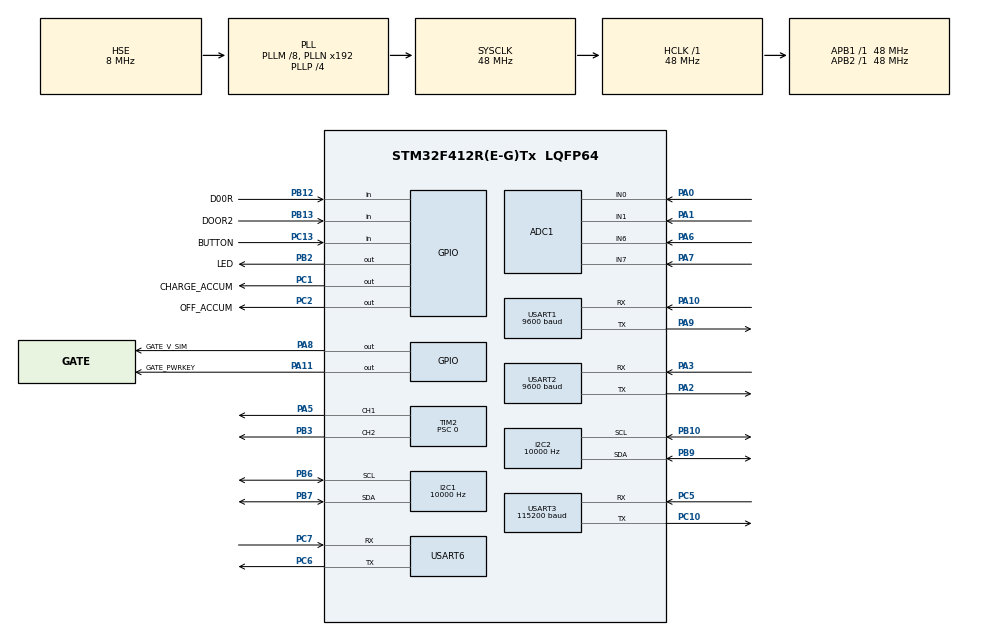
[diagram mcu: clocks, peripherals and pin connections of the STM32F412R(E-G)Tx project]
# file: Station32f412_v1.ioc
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ADC1.Channel-0\#ChannelRegularConversion=ADC_CHANNEL_0
ADC1.Channel-2\#ChannelRegularConversion=ADC_CHANNEL_1
ADC1.Channel-3\#ChannelRegularConversion=ADC_CHANNEL_6
ADC1.Channel-4\#ChannelRegularConversion=ADC_CHANNEL_7
ADC1.ClockPrescaler=ADC_CLOCK_SYNC_PCLK_DIV4
ADC1.DiscontinuousConvMode=ENABLE
ADC1.NbrOfConversion=4
ADC1.NbrOfConversionFlag=1
ADC1.Rank-0\#ChannelRegularConversion=1
ADC1.Rank-2\#ChannelRegularConversion=2
ADC1.Rank-3\#ChannelRegularConversion=3
ADC1.Rank-4\#ChannelRegularConversion=4
ADC1.SamplingTime-0\#ChannelRegularConversion=ADC_SAMPLETIME_15CYCLES
ADC1.SamplingTime-2\#ChannelRegularConversion=ADC_SAMPLETIME_15CYCLES
ADC1.SamplingTime-3\#ChannelRegularConversion=ADC_SAMPLETIME_15CYCLES
ADC1.SamplingTime-4\#ChannelRegularConversion=ADC_SAMPLETIME_15CYCLES
ADC1.ScanConvMode=ENABLE
ADC1.master=1
I2C1.ClockSpeed=10000
I2C2.ClockSpeed=10000
Mcu.Family=STM32F4
Mcu.Name=STM32F412R(E-G)Tx
Mcu.Package=LQFP64
NVIC.PriorityGroup=NVIC_PRIORITYGROUP_4
NVIC.USART1_IRQn=true\:0\:0\:false\:false\:true\:true\:true\:true
NVIC.USART2_IRQn=true\:0\:0\:false\:false\:true\:true\:true\:true
NVIC.USART3_IRQn=true\:0\:0\:false\:false\:true\:true\:true\:true
NVIC.USART6_IRQn=true\:0\:0\:false\:false\:true\:true\:true\:true
PA0.Signal=ADCx_IN0
PA1.Signal=ADCx_IN1
PA10.Mode=Asynchronous
PA10.Signal=USART1_RX
PA11.GPIO_Label=GATE_PWRKEY
PA11.GPIO_Speed=GPIO_SPEED_FREQ_HIGH
PA11.Signal=GPIO_Output
PA13.Mode=Serial_Wire
PA13.Signal=SYS_JTMS-SWDIO
PA14.Mode=Serial_Wire
PA14.Signal=SYS_JTCK-SWCLK
PA2.Mode=Asynchronous
PA2.Signal=USART2_TX
PA3.Mode=Asynchronous
PA3.Signal=USART2_RX
PA5.Signal=S_TIM2_CH1_ETR
PA6.Signal=ADCx_IN6
PA7.Signal=ADCx_IN7
PA8.GPIO_Label=GATE_V_SIM
PA8.Signal=GPIO_Output
PA9.Mode=Asynchronous
PA9.Signal=USART1_TX
PB10.Mode=I2C
PB10.Signal=I2C2_SCL
PB12.GPIO_Label=D00R
PB12.Signal=GPIO_Input
PB13.GPIO_Label=DOOR2
PB13.Signal=GPIO_Input
PB2.GPIO_Label=LED
PB2.Signal=GPIO_Output
PB3.Signal=S_TIM2_CH2
PB6.Mode=I2C
PB6.Signal=I2C1_SCL
PB7.Mode=I2C
PB7.Signal=I2C1_SDA
PB9.Mode=I2C
PB9.Signal=I2C2_SDA
PC1.GPIO_Label=CHARGE_ACCUM
PC1.Signal=GPIO_Output
PC10.Mode=Asynchronous
PC10.Signal=USART3_TX
PC13.GPIO_Label=BUTTON
PC13.GPIO_PuPd=GPIO_PULLDOWN
PC13.Signal=GPIO_Input
PC2.GPIO_Label=OFF_ACCUM
PC2.Signal=GPIO_Output
PC5.Mode=Asynchronous
PC5.Signal=USART3_RX
PC6.Mode=Asynchronous
PC6.Signal=USART6_TX
PC7.Mode=Asynchronous
PC7.Signal=USART6_RX
PH0\ -\ OSC_IN.Mode=HSE-External-Oscillator
PH0\ -\ OSC_IN.Signal=RCC_OSC_IN
PH1\ -\ OSC_OUT.Mode=HSE-External-Oscillator
PH1\ -\ OSC_OUT.Signal=RCC_OSC_OUT
ProjectManager.HeapSize=0x200
ProjectManager.StackSize=0x400
ProjectManager.TargetToolchain=STM32CubeIDE
RCC.AHBFreq_Value=48000000
RCC.APB1Freq_Value=48000000
RCC.APB1TimFreq_Value=48000000
RCC.APB2Freq_Value=48000000
RCC.APB2TimFreq_Value=48000000
RCC.CortexFreq_Value=48000000
RCC.HCLKFreq_Value=48000000
RCC.HSE_VALUE=8000000
RCC.PLLM=8
RCC.PLLP=RCC_PLLP_DIV4
RCC.PLLSourceVirtual=RCC_PLLSOURCE_HSE
RCC.SYSCLKFreq_VALUE=48000000
RCC.SYSCLKSource=RCC_SYSCLKSOURCE_PLLCLK
RCC.USBFreq_Value=96000000
RCC.VCOOutputFreq_Value=192000000
SH.ADCx_IN0.0=ADC1_IN0,IN0
SH.ADCx_IN1.0=ADC1_IN1,IN1
SH.ADCx_IN6.0=ADC1_IN6,IN6
SH.ADCx_IN7.0=ADC1_IN7,IN7
SH.S_TIM2_CH1_ETR.0=TIM2_CH1,PWM Generation1 CH1
SH.S_TIM2_CH2.0=TIM2_CH2,PWM Generation2 CH2
TIM2.Channel-PWM\ Generation1\ CH1=TIM_CHANNEL_1
TIM2.Channel-PWM\ Generation2\ CH2=TIM_CHANNEL_2
TIM2.Period=1000
TIM2.Prescaler=0
TIM2.Pulse-PWM\ Generation1\ CH1=0
USART1.BaudRate=9600
USART1.VirtualMode=VM_ASYNC
USART2.BaudRate=9600
USART2.VirtualMode=VM_ASYNC
USART3.BaudRate=115200
USART3.VirtualMode=VM_ASYNC
USART6.VirtualMode=VM_ASYNC
VP_CRC_VS_CRC.Mode=CRC_Activate
board=custom

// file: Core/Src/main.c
/* USER CODE BEGIN Header */
/**
  ******************************************************************************
  * @file           : main.c
  * @brief          : Main program body
  ******************************************************************************
  * @attention
  *
  * Copyright (c) 2025 STMicroelectronics.
  * All rights reserved.
  *
  * This software is licensed under terms that can be found in the LICENSE file
  * in the root directory of this software component.
  * If no LICENSE file comes with this software, it is provided AS-IS.
  *
  ******************************************************************************
  */
/* USER CODE END Header */
#include "main.h"

/* USER CODE BEGIN Includes */

#include "stdio.h"
//#include "DS1307.h"
#include "Lcd_1602.h"
#include "Ina_228.h"
#include "FlashPROM.h"
#include "Dwin_lcd.h"
#include "my_atc.h"
#include "station.h"

/* USER CODE END Includes */

ADC_HandleTypeDef hadc1;

CRC_HandleTypeDef hcrc;

I2C_HandleTypeDef hi2c1;
I2C_HandleTypeDef hi2c2;

TIM_HandleTypeDef htim2;

/* USER CODE BEGIN PV */

char mas_char[21];
uint16_t adc_potenciometr = 0;
float adc_potect_v = 0;

// variable for function Dwin lcd
// witch called in interrupt
uint16_t pwm_value = 0;
uint16_t on_off_accum_value = 0;

uint16_t u_accum = 0;
float u_accum_float = 0;
_Bool u_220_off = 0;
uint16_t u_12v = 0;

int csq_value = 0;

// energy
float energy_fl = 0;

//hours work
uint32_t hours_work = 0;

_Bool flagDwinProgram = 0;

_Bool flagLcd1602_Enable = 0;

_Bool forse_write_eeprom = 0;

_Bool event_happened = 0;

// time delay
uint32_t time_1 = 0;
uint32_t time_2 = 0;
uint32_t time_3 = 0;
uint32_t time_4 = 0;

//---------------------------
// Sim800 variable
struct telemetriaData telData;
char telString[130] = {0,};
char tempString[15] = {0,};
uint8_t sim_status = 0;
uint8_t flag_sim800_error = 0;
//
char simReadBuff[50] = {0,};
uint8_t countSimReadBuff = 0;
//interrupt sim
volatile uint8_t receiveUart1Byte = 0;
volatile uint8_t flag_is_receive = 0;
uint16_t sim800_on_off = 0;

// I2C n2
HAL_StatusTypeDef status_i2c_2;

//flash PROM
uint32_t res_addr = 0;

/* USER CODE END PV */

void SystemClock_Config(void);
static void MX_GPIO_Init(void);
static void MX_I2C1_Init(void);
static void MX_ADC1_Init(void);
static void MX_TIM2_Init(void);
static void MX_I2C2_Init(void);
static void MX_CRC_Init(void);
static void MX_USART1_UART_Init(void);
static void MX_USART2_UART_Init(void);
static void MX_USART3_UART_Init(void);
static void MX_USART6_UART_Init(void);

/* USER CODE BEGIN 0 */

uint8_t reset_sim800_connect_to_server(void);
void read_sensor_write_lcd(void);

/* USER CODE END 0 */

int main(void)
{

  /* MCU Configuration--------------------------------------------------------*/

  /* Reset of all peripherals, Initializes the Flash interface and the Systick. */
  HAL_Init();

  /* Configure the system clock */
  SystemClock_Config();

  /* Initialize all configured peripherals */
  MX_GPIO_Init();
  MX_I2C1_Init();
  MX_ADC1_Init();
  MX_TIM2_Init();
  MX_I2C2_Init();
  MX_CRC_Init();
  MX_USART1_UART_Init();
  MX_USART2_UART_Init();
  MX_USART3_UART_Init();
  MX_USART6_UART_Init();
  /* USER CODE BEGIN 2 */

  if(flagLcd1602_Enable){
	  Init_lcd_1602(&hi2c1);
	  lcd_led_on();
  }

  HAL_TIM_PWM_Start_IT(&htim2, TIM_CHANNEL_1);
  HAL_TIM_PWM_Start_IT(&htim2, TIM_CHANNEL_2);

  /* USER CODE END 2 */

  /* Infinite loop */
  /* USER CODE BEGIN WHILE */

	HAL_Delay(1500);

	config = 0xFB6A; //config reg address = 1h
	status_i2c_2 = WriteIna228(&hi2c2, 1);
	if( status_i2c_2 != HAL_OK){
	  sprintf(mas_char,"Ina228-conf-error");
	  Dwin_write_str(USART6, 0x5100, (uint8_t *)mas_char, 20, flagDwinProgram);
	  //write status ina228 to lcd
	  if(flagLcd1602_Enable){
		  sprintf(mas_char,"i2-er");
		  Lcd_1602_SetPos(&hi2c1, 0, 0);
		  Lcd_1602_Write_Data(&hi2c1, (uint8_t *)mas_char);
	  }
	}else{
	  sprintf(mas_char,"Ina228-conf-OK");
	  Dwin_write_str(USART6, 0x5100, (uint8_t *)mas_char, 20, flagDwinProgram);
	}
	//
	//config = 500; // current calc reg address = 2h; Rsh=0,002 om
	config = 200; // current calc reg address = 2h; Rsh=0,00045 om 563
	status_i2c_2 = WriteIna228(&hi2c2, 2);
	if( status_i2c_2 != HAL_OK){
	  sprintf(mas_char,"Ina228-conf-error");
	  Dwin_write_str(USART6, 0x5100, (uint8_t *)mas_char, 20, flagDwinProgram);
	  //write status ina228 to lcd
	  if(flagLcd1602_Enable){
		  sprintf(mas_char,"i2-er");
		  Lcd_1602_SetPos(&hi2c1, 0, 0);
		  Lcd_1602_Write_Data(&hi2c1, (uint8_t *)mas_char);
	  }
	}else{
	  sprintf(mas_char,"Ina228-conf-OK");
	  Dwin_write_str(USART6, 0x5100, (uint8_t *)mas_char, 20, flagDwinProgram);
	}
	//
	config = 0;

	// work with flash
	//erase_flash();
	res_addr = flash_search_adress(STARTADDR, BUFFSIZE * DATAWIDTH);
	if( res_addr != STARTADDR){
	  myBuf_t rdata[BUFFSIZE] = {0,}; // буфер для чтения
	  read_last_data_in_flash(rdata); // чтение данных из флеша
	  energy_fl =  *((float*)&rdata[0]);
	  hours_work = rdata[1];
	  pwm_value = (uint16_t)rdata[2];
	  on_off_accum_value = ( (uint16_t)(rdata[2] >> 16) & 0x01 );
	  sim800_on_off = ( (uint16_t)(rdata[2] >> 17) & 0x01 );
	}

	// print kwt
	Dwin_write_float(USART6, 0x5006, energy_fl, flagDwinProgram);
	if(flagLcd1602_Enable){
	  sprintf(mas_char,"%.1fkWh", energy_fl);
	  Lcd_1602_SetPos(&hi2c1, 8, 1);
	  Lcd_1602_Write_Data(&hi2c1, (uint8_t *)mas_char);
	}

	//print hours work
	Dwin_write_int32(USART6, 0x5008, hours_work, flagDwinProgram);

	//print pwm
	Dwin_write_int16(USART6, 0x5012, pwm_value, flagDwinProgram);

	//print status accum
	if(on_off_accum_value == 0){
	  Dwin_write_int16(USART6, 0x5017, 0, flagDwinProgram);
	  Dwin_write_int16(USART6, 0x5022, 0, flagDwinProgram);
	  HAL_GPIO_WritePin(OFF_ACCUM_GPIO_Port, OFF_ACCUM_Pin, GPIO_PIN_RESET);
	}
	if(on_off_accum_value == 1){
	  Dwin_write_int16(USART6, 0x5017, 1, flagDwinProgram);
	  Dwin_write_int16(USART6, 0x5022, 1, flagDwinProgram);
	  HAL_GPIO_WritePin(OFF_ACCUM_GPIO_Port, OFF_ACCUM_Pin, GPIO_PIN_SET);
	}

	// print sim800_on_off
	Dwin_write_int16(USART6, 0x5030, sim800_on_off, flagDwinProgram);

	LL_USART_EnableIT_RXNE(USART3);
	LL_USART_EnableIT_RXNE(USART6);
	LL_USART_EnableIT_RXNE(USART1);
	LL_USART_EnableIT_RXNE(USART2);

	sim_status = reset_sim800_connect_to_server();
	//if connect ok == 4
	if( sim_status == 4 ){
		flag_sim800_error = 0;
		Dwin_write_int16(USART6, 0x5020, 1, flagDwinProgram);
		Dwin_write_int16(USART6, 0x5021, 1, flagDwinProgram);
	}
	else{
		flag_sim800_error = 1;
		Dwin_write_int16(USART6, 0x5020, 0, flagDwinProgram);
		Dwin_write_int16(USART6, 0x5021, 0, flagDwinProgram);
		// write to lcd csq
		Dwin_write_int16(USART6, 0x5026, 0, flagDwinProgram);
	}

  while (1)
  {
    /* USER CODE END WHILE */

    /* USER CODE BEGIN 3 */

	  // del 500ms
      if((HAL_GetTick() - time_1) > 500){
    	  //HAL_GPIO_TogglePin(LED_GPIO_Port, LED_Pin);

    	  time_1 = HAL_GetTick();
      }

	  // del 300ms
      if((HAL_GetTick() - time_2) > 300){

    	  read_sensor_write_lcd();

    	  time_2 = HAL_GetTick();
      }

      //---------------------------------------------------------
		if( ((HAL_GetTick() - time_4) > 60000) || (event_happened == 1)) { //  1s

		  event_happened = 0;

		if( flag_sim800_error == 0 && sim800_on_off == 1){

			  	defaultStrToStruct(&telData);

			  	sprintf(tempString, "%i", (uint16_t)((current_fl + 0.05) * 10) );
			  	strcpy( telData.i, tempString );

			  	sprintf(tempString, "%i", (uint16_t)((voltage_fl + 0.05) * 10) );
			  	strcpy( telData.u, tempString );

			  	sprintf(tempString, "%i", (uint16_t)((adc_potect_v + 0.005) * 100) );
			  	strcpy( telData.p, tempString );

			  	sprintf(tempString, "%i", (uint16_t)((energy_fl + 0.05) * 10) );
			  	strcpy( telData.power, tempString );

			  	sprintf(tempString, "%i", (uint16_t)(temperature_fl + 0.5) );
			  	strcpy( telData.temperature, tempString );

				// signal quality
				countSimReadBuff = 0;
				sim_status = Sim_Send_Receive(USART1, "AT+CSQ\r\n", &flag_is_receive, &receiveUart1Byte, 0, 100);
				HAL_Delay(10);
				if (sim_status == 1){
						//
						if (simReadBuff[5] == 'Q'){
							if(simReadBuff[9] == ','){
								simReadBuff[9] = '\0';
								strcpy( telData.sq, (char *)&simReadBuff[8]);
							}else{
								simReadBuff[10] = '\0';
								strcpy( telData.sq, (char *)&simReadBuff[8]);
							}
							csq_value = atoi(telData.sq);
						}
				}
				// write to lcd csq
				Dwin_write_int16(USART6, 0x5026, (uint16_t)csq_value, flagDwinProgram);

				//
				sprintf(tempString, "%i", (uint16_t)((u_accum_float + 0.05) * 10) );
				strcpy( telData.u_bat, tempString);
				//
				if( u_12v > 1000){
					sprintf(tempString, "%s", "1");
				}
				else{
					sprintf(tempString, "%s", "0");
				}
				strcpy( telData.u220, tempString);
				//
//				sprintf(tempString, "%+i", u_temperature);
//				strcpy( telData.temperature, tempString);

				// door
				if ( HAL_GPIO_ReadPin(DOOR2_GPIO_Port, DOOR2_Pin) == GPIO_PIN_SET ) {
					//close
					sprintf(tempString, "%s", "0");
				}else {
					//open
					sprintf(tempString, "%s", "1");
				}
				strcpy( telData.door, tempString);

				sprintf(telString, "%s|%s|%s|%s|%s|%s|%s|%s|%s|%s|%s|%s|",
						telData.id,
						telData.i,
						telData.u,
						telData.p,
						telData.u_bat,
						telData.sq,
						telData.u220,
						telData.door,
						telData.temperature,
						telData.power,
						telData.i_max,
						telData.t_max
						);
				sprintf(tempString, "%u;\x1A", (unsigned int)crc_8(telString));
				strcat(telString, tempString);

				//resp = ATC_SendReceive(&gsm, "AT+CIPSEND\r\n", 100, NULL, 100, 2, "\r\n> ", "\r\nERROR\r\n");
				sim_status = Sim_Send_Receive(USART1, "AT+CIPSEND\r\n", &flag_is_receive,	&receiveUart1Byte, 0, 1000);
				HAL_Delay(10);

				if (sim_status != 7) {
						flag_sim800_error = 1;
				}else{
						//resp2 = ATC_SendReceive(&gsm, telString, 100, NULL, 2000, 2, "\r\nSEND OK\r\n", "\r\nERROR\r\n");
						sim_status = Sim_Send_Receive(USART1, telString, &flag_is_receive,	&receiveUart1Byte, 0, 2000);
						HAL_Delay(10);
				}

				if (sim_status != 6) flag_sim800_error = 1;

				//sprintf(tempString, "send status -->%u\n", (unsigned int)sim_status);
				//UART3_Transmit( tempString );
		}else{
				//flag_sim800_error = 0;
				sim_status = reset_sim800_connect_to_server();
				//if connect ok == 4
				if( sim_status == 4 ){
					flag_sim800_error = 0;
					Dwin_write_int16(USART6, 0x5020, 1, flagDwinProgram);
					Dwin_write_int16(USART6, 0x5021, 1, flagDwinProgram);
				}
				else{
					flag_sim800_error = 1;
					Dwin_write_int16(USART6, 0x5020, 0, flagDwinProgram);
					Dwin_write_int16(USART6, 0x5021, 0, flagDwinProgram);
					// write to lcd csq
					Dwin_write_int16(USART6, 0x5026, 0, flagDwinProgram);
				}
		}

		time_4 = HAL_GetTick();
      }

      // интервал  1ч
      if( ((HAL_GetTick() - time_3) > 3600000) || (forse_write_eeprom == 1) ){

    	  forse_write_eeprom = 0;

    	  energy_fl = energy_fl + (voltage_fl * current_fl) / 1000;
    	  hours_work = hours_work + 1;
    	  myBuf_t wdata[BUFFSIZE] = {*((uint32_t*)&energy_fl),
    			  	hours_work,
					(uint32_t)pwm_value | ( (uint32_t)on_off_accum_value << 16 ) | ( (uint32_t)sim800_on_off << 17 ),
					0x00000000};
          write_to_flash(wdata); // запись данных во флеш

          // print kwt
          Dwin_write_float(USART6, 0x5006, energy_fl, flagDwinProgram);
          //print hours work
          Dwin_write_int32(USART6, 0x5008, hours_work, flagDwinProgram);
          //
          if(flagLcd1602_Enable){
			  sprintf(mas_char,"%.1fkWh", energy_fl);
			  Lcd_1602_SetPos(&hi2c1, 8, 1);
			  Lcd_1602_Write_Data(&hi2c1, (uint8_t *)mas_char);
          }

          time_3 = HAL_GetTick();
      }

  }
  /* USER CODE END 3 */
}

void SystemClock_Config(void)
{
  RCC_OscInitTypeDef RCC_OscInitStruct = {0};
  RCC_ClkInitTypeDef RCC_ClkInitStruct = {0};

  /** Configure the main internal regulator output voltage
  */
  __HAL_RCC_PWR_CLK_ENABLE();
  __HAL_PWR_VOLTAGESCALING_CONFIG(PWR_REGULATOR_VOLTAGE_SCALE1);

  /** Initializes the RCC Oscillators according to the specified parameters
  * in the RCC_OscInitTypeDef structure.
  */
  RCC_OscInitStruct.OscillatorType = RCC_OSCILLATORTYPE_HSE;
  RCC_OscInitStruct.HSEState = RCC_HSE_ON;
  RCC_OscInitStruct.PLL.PLLState = RCC_PLL_ON;
  RCC_OscInitStruct.PLL.PLLSource = RCC_PLLSOURCE_HSE;
  RCC_OscInitStruct.PLL.PLLM = 8;
  RCC_OscInitStruct.PLL.PLLN = 192;
  RCC_OscInitStruct.PLL.PLLP = RCC_PLLP_DIV4;
  RCC_OscInitStruct.PLL.PLLQ = 2;
  RCC_OscInitStruct.PLL.PLLR = 2;
  if (HAL_RCC_OscConfig(&RCC_OscInitStruct) != HAL_OK)
  {
    Error_Handler();
  }

  /** Initializes the CPU, AHB and APB buses clocks
  */
  RCC_ClkInitStruct.ClockType = RCC_CLOCKTYPE_HCLK|RCC_CLOCKTYPE_SYSCLK
                              |RCC_CLOCKTYPE_PCLK1|RCC_CLOCKTYPE_PCLK2;
  RCC_ClkInitStruct.SYSCLKSource = RCC_SYSCLKSOURCE_PLLCLK;
  RCC_ClkInitStruct.AHBCLKDivider = RCC_SYSCLK_DIV1;
  RCC_ClkInitStruct.APB1CLKDivider = RCC_HCLK_DIV1;
  RCC_ClkInitStruct.APB2CLKDivider = RCC_HCLK_DIV1;

  if (HAL_RCC_ClockConfig(&RCC_ClkInitStruct, FLASH_LATENCY_1) != HAL_OK)
  {
    Error_Handler();
  }
}

static void MX_ADC1_Init(void)
{

  ADC_ChannelConfTypeDef sConfig = {0};

  /** Configure the global features of the ADC (Clock, Resolution, Data Alignment and number of conversion)
  */
  hadc1.Instance = ADC1;
  hadc1.Init.ClockPrescaler = ADC_CLOCK_SYNC_PCLK_DIV4;
  hadc1.Init.Resolution = ADC_RESOLUTION_12B;
  hadc1.Init.ScanConvMode = ENABLE;
  hadc1.Init.ContinuousConvMode = DISABLE;
  hadc1.Init.DiscontinuousConvMode = ENABLE;
  hadc1.Init.NbrOfDiscConversion = 1;
  hadc1.Init.ExternalTrigConvEdge = ADC_EXTERNALTRIGCONVEDGE_NONE;
  hadc1.Init.ExternalTrigConv = ADC_SOFTWARE_START;
  hadc1.Init.DataAlign = ADC_DATAALIGN_RIGHT;
  hadc1.Init.NbrOfConversion = 4;
  hadc1.Init.DMAContinuousRequests = DISABLE;
  hadc1.Init.EOCSelection = ADC_EOC_SINGLE_CONV;
  if (HAL_ADC_Init(&hadc1) != HAL_OK)
  {
    Error_Handler();
  }

  /** Configure for the selected ADC regular channel its corresponding rank in the sequencer and its sample time.
  */
  sConfig.Channel = ADC_CHANNEL_0;
  sConfig.Rank = 1;
  sConfig.SamplingTime = ADC_SAMPLETIME_15CYCLES;
  if (HAL_ADC_ConfigChannel(&hadc1, &sConfig) != HAL_OK)
  {
    Error_Handler();
  }

  /** Configure for the selected ADC regular channel its corresponding rank in the sequencer and its sample time.
  */
  sConfig.Channel = ADC_CHANNEL_1;
  sConfig.Rank = 2;
  if (HAL_ADC_ConfigChannel(&hadc1, &sConfig) != HAL_OK)
  {
    Error_Handler();
  }

  /** Configure for the selected ADC regular channel its corresponding rank in the sequencer and its sample time.
  */
  sConfig.Channel = ADC_CHANNEL_6;
  sConfig.Rank = 3;
  if (HAL_ADC_ConfigChannel(&hadc1, &sConfig) != HAL_OK)
  {
    Error_Handler();
  }

  /** Configure for the selected ADC regular channel its corresponding rank in the sequencer and its sample time.
  */
  sConfig.Channel = ADC_CHANNEL_7;
  sConfig.Rank = 4;
  if (HAL_ADC_ConfigChannel(&hadc1, &sConfig) != HAL_OK)
  {
    Error_Handler();
  }

}

static void MX_CRC_Init(void)
{

  hcrc.Instance = CRC;
  if (HAL_CRC_Init(&hcrc) != HAL_OK)
  {
    Error_Handler();
  }

}

static void MX_I2C1_Init(void)
{

  hi2c1.Instance = I2C1;
  hi2c1.Init.ClockSpeed = 10000;
  hi2c1.Init.DutyCycle = I2C_DUTYCYCLE_2;
  hi2c1.Init.OwnAddress1 = 0;
  hi2c1.Init.AddressingMode = I2C_ADDRESSINGMODE_7BIT;
  hi2c1.Init.DualAddressMode = I2C_DUALADDRESS_DISABLE;
  hi2c1.Init.OwnAddress2 = 0;
  hi2c1.Init.GeneralCallMode = I2C_GENERALCALL_DISABLE;
  hi2c1.Init.NoStretchMode = I2C_NOSTRETCH_DISABLE;
  if (HAL_I2C_Init(&hi2c1) != HAL_OK)
  {
    Error_Handler();
  }

}

static void MX_I2C2_Init(void)
{

  hi2c2.Instance = I2C2;
  hi2c2.Init.ClockSpeed = 10000;
  hi2c2.Init.DutyCycle = I2C_DUTYCYCLE_2;
  hi2c2.Init.OwnAddress1 = 0;
  hi2c2.Init.AddressingMode = I2C_ADDRESSINGMODE_7BIT;
  hi2c2.Init.DualAddressMode = I2C_DUALADDRESS_DISABLE;
  hi2c2.Init.OwnAddress2 = 0;
  hi2c2.Init.GeneralCallMode = I2C_GENERALCALL_DISABLE;
  hi2c2.Init.NoStretchMode = I2C_NOSTRETCH_DISABLE;
  if (HAL_I2C_Init(&hi2c2) != HAL_OK)
  {
    Error_Handler();
  }

}

static void MX_TIM2_Init(void)
{

  TIM_MasterConfigTypeDef sMasterConfig = {0};
  TIM_OC_InitTypeDef sConfigOC = {0};

  htim2.Instance = TIM2;
  htim2.Init.Prescaler = 0;
  htim2.Init.CounterMode = TIM_COUNTERMODE_UP;
  htim2.Init.Period = 1000;
  htim2.Init.ClockDivision = TIM_CLOCKDIVISION_DIV1;
  htim2.Init.AutoReloadPreload = TIM_AUTORELOAD_PRELOAD_DISABLE;
  if (HAL_TIM_PWM_Init(&htim2) != HAL_OK)
  {
    Error_Handler();
  }
  sMasterConfig.MasterOutputTrigger = TIM_TRGO_RESET;
  sMasterConfig.MasterSlaveMode = TIM_MASTERSLAVEMODE_DISABLE;
  if (HAL_TIMEx_MasterConfigSynchronization(&htim2, &sMasterConfig) != HAL_OK)
  {
    Error_Handler();
  }
  sConfigOC.OCMode = TIM_OCMODE_PWM1;
  sConfigOC.Pulse = 0;
  sConfigOC.OCPolarity = TIM_OCPOLARITY_HIGH;
  sConfigOC.OCFastMode = TIM_OCFAST_DISABLE;
  if (HAL_TIM_PWM_ConfigChannel(&htim2, &sConfigOC, TIM_CHANNEL_1) != HAL_OK)
  {
    Error_Handler();
  }
  if (HAL_TIM_PWM_ConfigChannel(&htim2, &sConfigOC, TIM_CHANNEL_2) != HAL_OK)
  {
    Error_Handler();
  }
  HAL_TIM_MspPostInit(&htim2);

}

static void MX_USART1_UART_Init(void)
{

  LL_USART_InitTypeDef USART_InitStruct = {0};

  LL_GPIO_InitTypeDef GPIO_InitStruct = {0};

  /* Peripheral clock enable */
  LL_APB2_GRP1_EnableClock(LL_APB2_GRP1_PERIPH_USART1);

  LL_AHB1_GRP1_EnableClock(LL_AHB1_GRP1_PERIPH_GPIOA);
  /**USART1 GPIO Configuration
  PA9   ------> USART1_TX
  PA10   ------> USART1_RX
  */
  GPIO_InitStruct.Pin = LL_GPIO_PIN_9|LL_GPIO_PIN_10;
  GPIO_InitStruct.Mode = LL_GPIO_MODE_ALTERNATE;
  GPIO_InitStruct.Speed = LL_GPIO_SPEED_FREQ_VERY_HIGH;
  GPIO_InitStruct.OutputType = LL_GPIO_OUTPUT_PUSHPULL;
  GPIO_InitStruct.Pull = LL_GPIO_PULL_NO;
  GPIO_InitStruct.Alternate = LL_GPIO_AF_7;
  LL_GPIO_Init(GPIOA, &GPIO_InitStruct);

  /* USART1 interrupt Init */
  NVIC_SetPriority(USART1_IRQn, NVIC_EncodePriority(NVIC_GetPriorityGrouping(),0, 0));
  NVIC_EnableIRQ(USART1_IRQn);

  USART_InitStruct.BaudRate = 9600;
  USART_InitStruct.DataWidth = LL_USART_DATAWIDTH_8B;
  USART_InitStruct.StopBits = LL_USART_STOPBITS_1;
  USART_InitStruct.Parity = LL_USART_PARITY_NONE;
  USART_InitStruct.TransferDirection = LL_USART_DIRECTION_TX_RX;
  USART_InitStruct.HardwareFlowControl = LL_USART_HWCONTROL_NONE;
  USART_InitStruct.OverSampling = LL_USART_OVERSAMPLING_16;
  LL_USART_Init(USART1, &USART_InitStruct);
  LL_USART_ConfigAsyncMode(USART1);
  LL_USART_Enable(USART1);

}

static void MX_USART2_UART_Init(void)
{

  LL_USART_InitTypeDef USART_InitStruct = {0};

  LL_GPIO_InitTypeDef GPIO_InitStruct = {0};

  /* Peripheral clock enable */
  LL_APB1_GRP1_EnableClock(LL_APB1_GRP1_PERIPH_USART2);

  LL_AHB1_GRP1_EnableClock(LL_AHB1_GRP1_PERIPH_GPIOA);
  /**USART2 GPIO Configuration
  PA2   ------> USART2_TX
  PA3   ------> USART2_RX
  */
  GPIO_InitStruct.Pin = LL_GPIO_PIN_2|LL_GPIO_PIN_3;
  GPIO_InitStruct.Mode = LL_GPIO_MODE_ALTERNATE;
  GPIO_InitStruct.Speed = LL_GPIO_SPEED_FREQ_VERY_HIGH;
  GPIO_InitStruct.OutputType = LL_GPIO_OUTPUT_PUSHPULL;
  GPIO_InitStruct.Pull = LL_GPIO_PULL_NO;
  GPIO_InitStruct.Alternate = LL_GPIO_AF_7;
  LL_GPIO_Init(GPIOA, &GPIO_InitStruct);

  /* USART2 interrupt Init */
  NVIC_SetPriority(USART2_IRQn, NVIC_EncodePriority(NVIC_GetPriorityGrouping(),0, 0));
  NVIC_EnableIRQ(USART2_IRQn);

  USART_InitStruct.BaudRate = 9600;
  USART_InitStruct.DataWidth = LL_USART_DATAWIDTH_8B;
  USART_InitStruct.StopBits = LL_USART_STOPBITS_1;
  USART_InitStruct.Parity = LL_USART_PARITY_NONE;
  USART_InitStruct.TransferDirection = LL_USART_DIRECTION_TX_RX;
  USART_InitStruct.HardwareFlowControl = LL_USART_HWCONTROL_NONE;
  USART_InitStruct.OverSampling = LL_USART_OVERSAMPLING_16;
  LL_USART_Init(USART2, &USART_InitStruct);
  LL_USART_ConfigAsyncMode(USART2);
  LL_USART_Enable(USART2);

}

static void MX_USART3_UART_Init(void)
{

  LL_USART_InitTypeDef USART_InitStruct = {0};

  LL_GPIO_InitTypeDef GPIO_InitStruct = {0};

  /* Peripheral clock enable */
  LL_APB1_GRP1_EnableClock(LL_APB1_GRP1_PERIPH_USART3);

  LL_AHB1_GRP1_EnableClock(LL_AHB1_GRP1_PERIPH_GPIOC);
  /**USART3 GPIO Configuration
  PC5   ------> USART3_RX
  PC10   ------> USART3_TX
  */
  GPIO_InitStruct.Pin = LL_GPIO_PIN_5|LL_GPIO_PIN_10;
  GPIO_InitStruct.Mode = LL_GPIO_MODE_ALTERNATE;
  GPIO_InitStruct.Speed = LL_GPIO_SPEED_FREQ_VERY_HIGH;
  GPIO_InitStruct.OutputType = LL_GPIO_OUTPUT_PUSHPULL;
  GPIO_InitStruct.Pull = LL_GPIO_PULL_NO;
  GPIO_InitStruct.Alternate = LL_GPIO_AF_7;
  LL_GPIO_Init(GPIOC, &GPIO_InitStruct);

  /* USART3 interrupt Init */
  NVIC_SetPriority(USART3_IRQn, NVIC_EncodePriority(NVIC_GetPriorityGrouping(),0, 0));
  NVIC_EnableIRQ(USART3_IRQn);

  /* USER CODE BEGIN USART3_Init 1 */

  // GPIO_InitStruct.Pull = LL_GPIO_PULL_UP; !!!
  /**USART3 GPIO Configuration
  PC5   ------> USART3_RX
  PC10   ------> USART3_TX
  */
  GPIO_InitStruct.Pin = LL_GPIO_PIN_5|LL_GPIO_PIN_10;
  GPIO_InitStruct.Mode = LL_GPIO_MODE_ALTERNATE;
  GPIO_InitStruct.Speed = LL_GPIO_SPEED_FREQ_VERY_HIGH;
  GPIO_InitStruct.OutputType = LL_GPIO_OUTPUT_PUSHPULL;
  GPIO_InitStruct.Pull = LL_GPIO_PULL_UP;
  GPIO_InitStruct.Alternate = LL_GPIO_AF_7;
  LL_GPIO_Init(GPIOC, &GPIO_InitStruct);

  /* USER CODE END USART3_Init 1 */
  USART_InitStruct.BaudRate = 115200;
  USART_InitStruct.DataWidth = LL_USART_DATAWIDTH_8B;
  USART_InitStruct.StopBits = LL_USART_STOPBITS_1;
  USART_InitStruct.Parity = LL_USART_PARITY_NONE;
  USART_InitStruct.TransferDirection = LL_USART_DIRECTION_TX_RX;
  USART_InitStruct.HardwareFlowControl = LL_USART_HWCONTROL_NONE;
  USART_InitStruct.OverSampling = LL_USART_OVERSAMPLING_16;
  LL_USART_Init(USART3, &USART_InitStruct);
  LL_USART_ConfigAsyncMode(USART3);
  LL_USART_Enable(USART3);

}

static void MX_USART6_UART_Init(void)
{

  LL_USART_InitTypeDef USART_InitStruct = {0};

  LL_GPIO_InitTypeDef GPIO_InitStruct = {0};

  /* Peripheral clock enable */
  LL_APB2_GRP1_EnableClock(LL_APB2_GRP1_PERIPH_USART6);

  LL_AHB1_GRP1_EnableClock(LL_AHB1_GRP1_PERIPH_GPIOC);
  /**USART6 GPIO Configuration
  PC6   ------> USART6_TX
  PC7   ------> USART6_RX
  */
  GPIO_InitStruct.Pin = LL_GPIO_PIN_6|LL_GPIO_PIN_7;
  GPIO_InitStruct.Mode = LL_GPIO_MODE_ALTERNATE;
  GPIO_InitStruct.Speed = LL_GPIO_SPEED_FREQ_VERY_HIGH;
  GPIO_InitStruct.OutputType = LL_GPIO_OUTPUT_PUSHPULL;
  GPIO_InitStruct.Pull = LL_GPIO_PULL_NO;
  GPIO_InitStruct.Alternate = LL_GPIO_AF_8;
  LL_GPIO_Init(GPIOC, &GPIO_InitStruct);

  /* USART6 interrupt Init */
  NVIC_SetPriority(USART6_IRQn, NVIC_EncodePriority(NVIC_GetPriorityGrouping(),0, 0));
  NVIC_EnableIRQ(USART6_IRQn);

  /* USER CODE BEGIN USART6_Init 1 */

  //LL_GPIO_PULL_UP !!!
  /**USART6 GPIO Configuration
  PC6   ------> USART6_TX
  PC7   ------> USART6_RX
  */
  GPIO_InitStruct.Pin = LL_GPIO_PIN_6|LL_GPIO_PIN_7;
  GPIO_InitStruct.Mode = LL_GPIO_MODE_ALTERNATE;
  GPIO_InitStruct.Speed = LL_GPIO_SPEED_FREQ_VERY_HIGH;
  GPIO_InitStruct.OutputType = LL_GPIO_OUTPUT_PUSHPULL;
  GPIO_InitStruct.Pull = LL_GPIO_PULL_UP;
  GPIO_InitStruct.Alternate = LL_GPIO_AF_8;
  LL_GPIO_Init(GPIOC, &GPIO_InitStruct);

  /* USER CODE END USART6_Init 1 */
  USART_InitStruct.BaudRate = 115200;
  USART_InitStruct.DataWidth = LL_USART_DATAWIDTH_8B;
  USART_InitStruct.StopBits = LL_USART_STOPBITS_1;
  USART_InitStruct.Parity = LL_USART_PARITY_NONE;
  USART_InitStruct.TransferDirection = LL_USART_DIRECTION_TX_RX;
  USART_InitStruct.HardwareFlowControl = LL_USART_HWCONTROL_NONE;
  USART_InitStruct.OverSampling = LL_USART_OVERSAMPLING_16;
  LL_USART_Init(USART6, &USART_InitStruct);
  LL_USART_ConfigAsyncMode(USART6);
  LL_USART_Enable(USART6);

}

static void MX_GPIO_Init(void)
{
  GPIO_InitTypeDef GPIO_InitStruct = {0};

  /* GPIO Ports Clock Enable */
  __HAL_RCC_GPIOC_CLK_ENABLE();
  __HAL_RCC_GPIOH_CLK_ENABLE();
  __HAL_RCC_GPIOA_CLK_ENABLE();
  __HAL_RCC_GPIOB_CLK_ENABLE();

  /*Configure GPIO pin Output Level */
  HAL_GPIO_WritePin(GPIOC, CHARGE_ACCUM_Pin|OFF_ACCUM_Pin, GPIO_PIN_RESET);

  /*Configure GPIO pin Output Level */
  HAL_GPIO_WritePin(LED_GPIO_Port, LED_Pin, GPIO_PIN_RESET);

  /*Configure GPIO pin Output Level */
  HAL_GPIO_WritePin(GPIOA, GATE_V_SIM_Pin|GATE_PWRKEY_Pin, GPIO_PIN_RESET);

  /*Configure GPIO pin : BUTTON_Pin */
  GPIO_InitStruct.Pin = BUTTON_Pin;
  GPIO_InitStruct.Mode = GPIO_MODE_INPUT;
  GPIO_InitStruct.Pull = GPIO_PULLDOWN;
  HAL_GPIO_Init(BUTTON_GPIO_Port, &GPIO_InitStruct);

  /*Configure GPIO pins : CHARGE_ACCUM_Pin OFF_ACCUM_Pin */
  GPIO_InitStruct.Pin = CHARGE_ACCUM_Pin|OFF_ACCUM_Pin;
  GPIO_InitStruct.Mode = GPIO_MODE_OUTPUT_PP;
  GPIO_InitStruct.Pull = GPIO_NOPULL;
  GPIO_InitStruct.Speed = GPIO_SPEED_FREQ_LOW;
  HAL_GPIO_Init(GPIOC, &GPIO_InitStruct);

  /*Configure GPIO pin : LED_Pin */
  GPIO_InitStruct.Pin = LED_Pin;
  GPIO_InitStruct.Mode = GPIO_MODE_OUTPUT_PP;
  GPIO_InitStruct.Pull = GPIO_NOPULL;
  GPIO_InitStruct.Speed = GPIO_SPEED_FREQ_LOW;
  HAL_GPIO_Init(LED_GPIO_Port, &GPIO_InitStruct);

  /*Configure GPIO pins : D00R_Pin DOOR2_Pin */
  GPIO_InitStruct.Pin = D00R_Pin|DOOR2_Pin;
  GPIO_InitStruct.Mode = GPIO_MODE_INPUT;
  GPIO_InitStruct.Pull = GPIO_NOPULL;
  HAL_GPIO_Init(GPIOB, &GPIO_InitStruct);

  /*Configure GPIO pin : GATE_V_SIM_Pin */
  GPIO_InitStruct.Pin = GATE_V_SIM_Pin;
  GPIO_InitStruct.Mode = GPIO_MODE_OUTPUT_PP;
  GPIO_InitStruct.Pull = GPIO_NOPULL;
  GPIO_InitStruct.Speed = GPIO_SPEED_FREQ_LOW;
  HAL_GPIO_Init(GATE_V_SIM_GPIO_Port, &GPIO_InitStruct);

  /*Configure GPIO pin : GATE_PWRKEY_Pin */
  GPIO_InitStruct.Pin = GATE_PWRKEY_Pin;
  GPIO_InitStruct.Mode = GPIO_MODE_OUTPUT_PP;
  GPIO_InitStruct.Pull = GPIO_NOPULL;
  GPIO_InitStruct.Speed = GPIO_SPEED_FREQ_HIGH;
  HAL_GPIO_Init(GATE_PWRKEY_GPIO_Port, &GPIO_InitStruct);

}

/* USER CODE BEGIN 4 */

//==========================================================

uint8_t reset_sim800_connect_to_server() {
		int i;
		uint8_t sim_status;

		if(sim800_on_off == 0){
			HAL_GPIO_WritePin(GATE_PWRKEY_GPIO_Port, GATE_PWRKEY_Pin, GPIO_PIN_RESET);
			HAL_GPIO_WritePin(GATE_V_SIM_GPIO_Port, GATE_V_SIM_Pin, GPIO_PIN_RESET);
			return 3;	// ret 3 -> error
		}

		//HAL_IWDG_Refresh(&hiwdg); //reset wdg

		HAL_GPIO_WritePin(GATE_PWRKEY_GPIO_Port, GATE_PWRKEY_Pin, GPIO_PIN_RESET);
		HAL_GPIO_WritePin(GATE_V_SIM_GPIO_Port, GATE_V_SIM_Pin, GPIO_PIN_RESET);
		// delay = 5000ms
		for(int i=0; i < 17; i++){
			read_sensor_write_lcd();	//32ms
			HAL_Delay(270);				//270ms
		}
		HAL_GPIO_WritePin(GATE_V_SIM_GPIO_Port, GATE_V_SIM_Pin, GPIO_PIN_SET);
		// delay = 5000ms
		for(int i=0; i < 17; i++){
			read_sensor_write_lcd();	//32ms
			HAL_Delay(270);				//270ms
		}
		HAL_GPIO_WritePin(GATE_PWRKEY_GPIO_Port, GATE_PWRKEY_Pin, GPIO_PIN_SET);
		// delay = 2000ms
		for(int i=0; i < 7; i++){
			read_sensor_write_lcd();	//32ms
			HAL_Delay(270);				//270ms
		}
		HAL_GPIO_WritePin(GATE_PWRKEY_GPIO_Port, GATE_PWRKEY_Pin, GPIO_PIN_RESET);
		// delay = 500ms
		for(int i=0; i < 2; i++){
			read_sensor_write_lcd();	//32ms
			HAL_Delay(270);				//270ms
		}

    //HAL_IWDG_Refresh(&hiwdg); //reset wdg

    for( i = 0; i < 100; i++) {
    	//HAL_Delay(100);
		read_sensor_write_lcd();	//32ms
		HAL_Delay(270);
    //	HAL_IWDG_Refresh(&hiwdg); //reset wdg
		sim_status = Sim_Send_Receive( USART1,	"AT\r\n", &flag_is_receive,	&receiveUart1Byte,0,100);
		HAL_Delay(10);
    	if( sim_status == 1 ) break;
    }

    //HAL_IWDG_Refresh(&hiwdg); //reset wdg

    //HAL_Delay(25000);
	// delay = 25000ms
	for(int i=0; i < 84; i++){
		read_sensor_write_lcd();	//32ms
		HAL_Delay(270);				//270ms
	}

    //HAL_IWDG_Refresh(&hiwdg); //reset wdg

    sim_status = Sim_Send_Receive( USART1,	"AT\r\n", &flag_is_receive,	&receiveUart1Byte,0,100);
		HAL_Delay(10);
    if (sim_status != 1) return sim_status;
    // echo off
    sim_status = Sim_Send_Receive( USART1,	"ATE0\r\n", &flag_is_receive,	&receiveUart1Byte,0,100);
		HAL_Delay(10);
    if (sim_status != 1) return sim_status;
    // off all calls
    sim_status = Sim_Send_Receive( USART1,	"AT+GSMBUSY=1\r\n", &flag_is_receive,	&receiveUart1Byte,0,100);
		HAL_Delay(10);
    if (sim_status != 1) return sim_status;
    // sms not in TE
    sim_status = Sim_Send_Receive( USART1,	"AT+CNMI=0,0\r\n", &flag_is_receive,	&receiveUart1Byte,0,100);
    if (sim_status != 1) return sim_status;
    // sms text mode
    sim_status = Sim_Send_Receive( USART1,	"AT+CMGF=1\r\n", &flag_is_receive,	&receiveUart1Byte,0,100);
		HAL_Delay(10);
    if (sim_status != 1) return sim_status;
    // signal quality
    sim_status = Sim_Send_Receive( USART1,	"AT+CSQ\r\n", &flag_is_receive,	&receiveUart1Byte,0,100);
		HAL_Delay(10);
    if (sim_status != 1) return sim_status;
    // phone activity status
    sim_status = Sim_Send_Receive( USART1,	"AT+CPAS\r\n", &flag_is_receive,	&receiveUart1Byte,0,100);
		HAL_Delay(10);
    if (sim_status != 1) return sim_status;

    // deactivate gprs context
    sim_status = Sim_Send_Receive( USART1,	"AT+CIPSHUT\r\n", &flag_is_receive,	&receiveUart1Byte,0,5000);
		HAL_Delay(10);
    if (sim_status != 5) return sim_status;
    // single ip conection
    sim_status = Sim_Send_Receive( USART1,	"AT+CIPMUX=0\r\n", &flag_is_receive,	&receiveUart1Byte,0,100);
		HAL_Delay(10);
    if (sim_status != 1) return sim_status;
    // attach gprs
    sim_status = Sim_Send_Receive( USART1,	"AT+CGATT=1\r\n", &flag_is_receive,	&receiveUart1Byte,0,100);
		HAL_Delay(10);
    if (sim_status != 1) return sim_status;
    // apn
    sim_status = Sim_Send_Receive( USART1,	"AT+CSTT=\"www\",\"\",\"\"\r\n", &flag_is_receive,	&receiveUart1Byte,0,1000);
		HAL_Delay(10);
    if (sim_status != 1) return sim_status;
    // bring wireless connection
    sim_status = Sim_Send_Receive( USART1,	"AT+CIICR\r\n", &flag_is_receive,	&receiveUart1Byte,0,5000);
		HAL_Delay(10);
    if (sim_status != 1) return sim_status;
    // get local ip address => sim_status==0 no OK
    sim_status = Sim_Send_Receive( USART1,	"AT+CIFSR\r\n", &flag_is_receive,	&receiveUart1Byte,0,1000);
		HAL_Delay(10);
    ////if (sim_status != 1) return sim_status; No OK

    sim_status = Sim_Send_Receive( USART1,	"AT+CIPSTART=\"TCP\",\"scz.pge.md\",\"16992\"\r\n", &flag_is_receive,	&receiveUart1Byte,1,5000);
		HAL_Delay(10);
    //HAL_IWDG_Refresh(&hiwdg); //reset wdg

    return sim_status;	//=4 if connect ok
}

// t = 32ms
void read_sensor_write_lcd(void){

	  HAL_GPIO_WritePin(LED_GPIO_Port, LED_Pin, GPIO_PIN_SET);

	// read doors
	if( HAL_GPIO_ReadPin(DOOR2_GPIO_Port, DOOR2_Pin) == GPIO_PIN_SET ){
		  // sensor closed
		  //write door
		  Dwin_write_int16(USART6, 0x5016, 1, flagDwinProgram);
		  if(flagLcd1602_Enable){
			  Lcd_1602_SetPos(&hi2c1, 15, 1);
			  Lcd_1602_Write_Data(&hi2c1, (unsigned char *)"1");
		  }
	}else{
		  // sensor open
		  //write door
		  Dwin_write_int16(USART6, 0x5016, 0, flagDwinProgram);
		  if(flagLcd1602_Enable){
			  Lcd_1602_SetPos(&hi2c1, 15, 1);
			  Lcd_1602_Write_Data(&hi2c1, (unsigned char *)"0");
		  }
	}
	//---------------------
	if( HAL_GPIO_ReadPin(D00R_GPIO_Port, D00R_Pin) == GPIO_PIN_SET ){
		  // sensor closed
		  flagDwinProgram = 1;
	}else{
		  // sensor open
		  flagDwinProgram = 0;
	}

	adc_potenciometr = 0;
	HAL_ADC_Start(&hadc1); // запускаем преобразование сигнала АЦП
	HAL_ADC_PollForConversion(&hadc1, 100); // ожидаем окончания преобразования
	adc_potenciometr = HAL_ADC_GetValue(&hadc1) / 4; // читаем полученное значение в переменную adc
	if( adc_potenciometr > 1001 ){
		  adc_potenciometr = 1001;
	}
	//
	adc_potect_v = 0;
	HAL_ADC_Start(&hadc1); // запускаем преобразование сигнала АЦП
	HAL_ADC_PollForConversion(&hadc1, 100); // ожидаем окончания преобразования
	adc_potect_v = HAL_ADC_GetValue(&hadc1) * 3.63 / 4095; // читаем полученное значение в переменную adc
	//
	//
	//
	u_accum = 0;
	HAL_ADC_Start(&hadc1); // запускаем преобразование сигнала АЦП
	HAL_ADC_PollForConversion(&hadc1, 100); // ожидаем окончания преобразования
	u_accum = HAL_ADC_GetValue(&hadc1);
	u_accum_float = u_accum * 3.3 * 2 / 4095; // читаем полученное значение в переменную
	//
	//
	u_12v = 0;
	HAL_ADC_Start(&hadc1); // запускаем преобразование сигнала АЦП
	HAL_ADC_PollForConversion(&hadc1, 100); // ожидаем окончания преобразования
	u_12v = HAL_ADC_GetValue(&hadc1); // читаем полученное значение в переменную
	//

	// print potenciometr
	Dwin_write_float(USART6, 0x5010, (float)adc_potenciometr/10.0, flagDwinProgram);
	//
	if(flagLcd1602_Enable){
		  sprintf(mas_char,"%04d", adc_potenciometr);
		  Lcd_1602_SetPos(&hi2c1, 12, 0);
		  Lcd_1602_Write_Data(&hi2c1, (uint8_t *)mas_char);
	}

	//
	if(flagLcd1602_Enable){
		  sprintf(mas_char,"%.2fV", adc_potect_v);
		  Lcd_1602_SetPos(&hi2c1, 6, 0);
		  Lcd_1602_Write_Data(&hi2c1, (uint8_t *)mas_char);
	}

	//print on off accum
	//set on 0ff accum
	if(on_off_accum_value == 0){
		  Dwin_write_int16(USART6, 0x5022, 0, flagDwinProgram);
		  HAL_GPIO_WritePin(OFF_ACCUM_GPIO_Port, OFF_ACCUM_Pin, GPIO_PIN_RESET);
		  HAL_GPIO_WritePin(CHARGE_ACCUM_GPIO_Port, CHARGE_ACCUM_Pin, GPIO_PIN_RESET);
		  // print v accum
		  Dwin_write_float(USART6, 0x5024, 0.0, flagDwinProgram);
	}
	if(on_off_accum_value == 1){
		  Dwin_write_int16(USART6, 0x5022, 1, flagDwinProgram);
		  HAL_GPIO_WritePin(OFF_ACCUM_GPIO_Port, OFF_ACCUM_Pin, GPIO_PIN_SET);
		  // print v accum
		  Dwin_write_float(USART6, 0x5024, u_accum_float, flagDwinProgram);

		  // set on off charge accum
		// u_accum = 2482; v = 4.0v
		// u_accum = 2234; v = 3.5v
		  if( u_accum > 2482 ){	// u_accum = 2482; v = 4.0v
			  HAL_GPIO_WritePin(CHARGE_ACCUM_GPIO_Port, CHARGE_ACCUM_Pin, GPIO_PIN_RESET);
		  }
		  if( u_accum < 2382 ){
			  HAL_GPIO_WritePin(CHARGE_ACCUM_GPIO_Port, CHARGE_ACCUM_Pin, GPIO_PIN_SET);
		  }
		  // Off power
		  if( (u_accum < 2234) && (u_220_off == 1) ){	// u_accum = 2234; v = 3.5v and off 220v => off accum
			  HAL_GPIO_WritePin(OFF_ACCUM_GPIO_Port, OFF_ACCUM_Pin, GPIO_PIN_RESET);
		  }
	}

	//print pwm
	Dwin_write_int16(USART6, 0x5012, pwm_value, flagDwinProgram);
	// set PWM
	TIM2->CCR1 = pwm_value;
	TIM2->CCR2 = 500;

	// read ina228
	status_i2c_2 = ReadIna228(&hi2c2);
	if( status_i2c_2 != HAL_OK){
		  sprintf(mas_char,"i2c-ReadIna228-error");
		  Dwin_write_str(USART6, 0x5100, (uint8_t *)mas_char, 20, flagDwinProgram);
		  if(flagLcd1602_Enable){
			  sprintf(mas_char,"i2-er");
			  Lcd_1602_SetPos(&hi2c1, 0, 0);
			  Lcd_1602_Write_Data(&hi2c1, (uint8_t *)mas_char);
		  }

	}else{
		  sprintf(mas_char,"i2c-ReadIna228-OK");
		  Dwin_write_str(USART6, 0x5100, (uint8_t *)mas_char, 20, flagDwinProgram);
		  //
		  if(flagLcd1602_Enable){
			  if( sprintf(mas_char,"%.1fV", voltage_fl) == 4){
				  sprintf(mas_char," %.1fV", voltage_fl);
			  }else{
				  sprintf(mas_char,"%.1fV", voltage_fl);
			  }
			  Lcd_1602_SetPos(&hi2c1, 0, 0);
			  Lcd_1602_Write_Data(&hi2c1, (uint8_t *)mas_char);
		  }
		  //
		  // print voltage
		  Dwin_write_float(USART6, 0x5000, voltage_fl, flagDwinProgram);
		  // print current
		  Dwin_write_float(USART6, 0x5002, current_fl, flagDwinProgram);;
		  // print current
		  Dwin_write_float(USART6, 0x5028, temperature_fl, flagDwinProgram);
		  //
		  if(flagLcd1602_Enable){
			  if( sprintf(mas_char,"%.1fV", current_fl) == 4){
				  sprintf(mas_char," %.1fA ", current_fl);
			  }else{
				  sprintf(mas_char,"%.1fA ", current_fl);
			  }
			  Lcd_1602_SetPos(&hi2c1, 0, 1);
			  Lcd_1602_Write_Data(&hi2c1, (uint8_t *)mas_char);
		  }

	}

	// print potencial
	Dwin_write_float(USART6, 0x5004, adc_potect_v, flagDwinProgram);

//	if(sim800_on_off == 0){
//		HAL_GPIO_WritePin(GATE_PWRKEY_GPIO_Port, GATE_PWRKEY_Pin, GPIO_PIN_RESET);
//		HAL_GPIO_WritePin(GATE_V_SIM_GPIO_Port, GATE_V_SIM_Pin, GPIO_PIN_RESET);
//		Dwin_write_int16(USART6, 0x5020, 0, flagDwinProgram);
//		Dwin_write_int16(USART6, 0x5021, 0, flagDwinProgram);
//	}else{
//		if(flag_sim800_error == 1){
//			Dwin_write_int16(USART6, 0x5020, 0, flagDwinProgram);
//			Dwin_write_int16(USART6, 0x5021, 0, flagDwinProgram);
//		}else{
//			Dwin_write_int16(USART6, 0x5020, 1, flagDwinProgram);
//			Dwin_write_int16(USART6, 0x5021, 1, flagDwinProgram);
//		}
//	}

	HAL_GPIO_WritePin(LED_GPIO_Port, LED_Pin, GPIO_PIN_RESET);

}

/* USER CODE END 4 */

void Error_Handler(void)
{
  __disable_irq();
  while (1)
  {
  }
}
